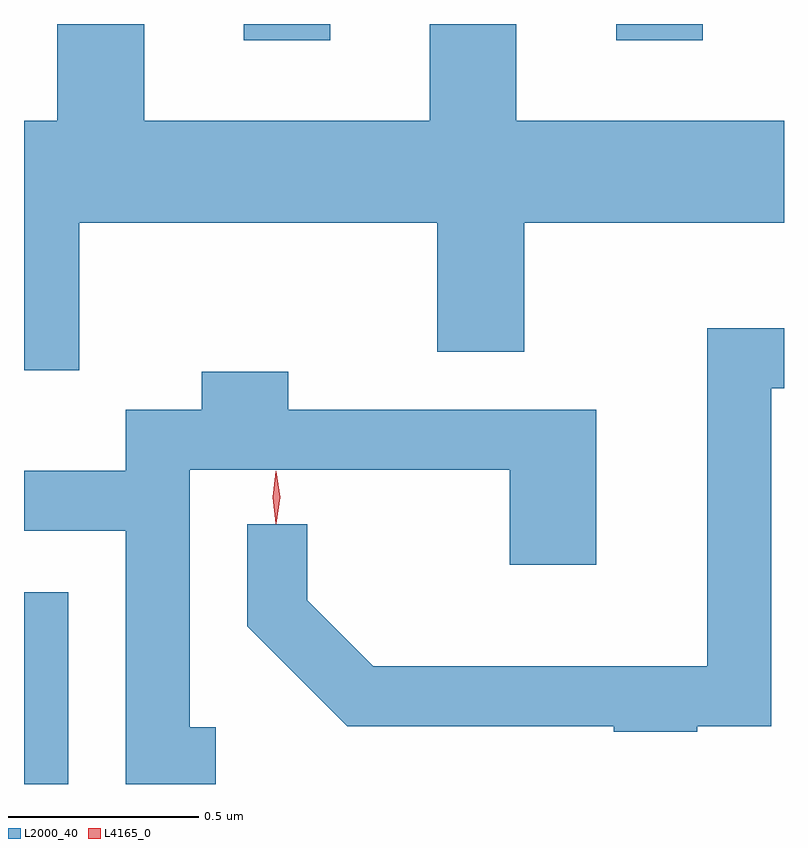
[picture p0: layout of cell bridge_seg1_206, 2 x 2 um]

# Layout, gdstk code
import gdstk
lib = gdstk.Library(unit=1e-6, precision=1e-09)
def R(c, l, rs):  # rectangles x0, y0, x1, y1
    for r in rs: c.add(gdstk.rectangle(r[:2], r[2:], *l))
def P(c, l, *ps):  # polygons
    for p in ps: c.add(gdstk.Polygon(p, *l))
L2000_40 = (2000, 40)
L4165_0 = (4165, 0)

bridge_seg1_206 = lib.new_cell('bridge_seg1_206')
R(bridge_seg1_206, L2000_40, [(786.993,942.499,787.109,943.004), (787.571,944.456,787.799,944.499), (788.551,944.456,788.779,944.499)])
P(bridge_seg1_206, L2000_40, [(787.139,943.976),(788.081,943.976),(788.081,943.636),(788.309,943.636),(788.309,943.976),(788.993,943.976),(788.993,944.244),(788.289,944.244),(788.289,944.499),(788.061,944.499),(788.061,944.244),(787.309,944.244),(787.309,944.499),(787.081,944.499),(787.081,944.244),(786.993,944.244),(786.993,943.588),(787.139,943.588)],
  [(788.765,942.651),(788.959,942.651),(788.959,943.541),(788.993,943.541),(788.993,943.699),(788.791,943.699),(788.791,942.809),(787.912,942.809),(787.739,942.982),(787.739,943.183),(787.581,943.183),(787.581,942.914),(787.844,942.651),(788.545,942.651),(788.545,942.636),(788.765,942.636)],
  [(787.498,942.649),(787.429,942.649),(787.429,943.326),(788.271,943.326),(788.271,943.076),(788.499,943.076),(788.499,943.484),(787.689,943.484),(787.689,943.584),(787.461,943.584),(787.461,943.484),(787.261,943.484),(787.261,943.324),(786.993,943.324),(786.993,943.166),(787.261,943.166),(787.261,942.499),(787.498,942.499)])
P(bridge_seg1_206, L4165_0, [(787.657,943.183),(787.656,943.184),(787.647,943.253),(787.656,943.322),(787.657,943.322),(787.657,943.322),(787.667,943.253),(787.657,943.184)])

lib.write_gds('bridge_seg1_206.gds')
